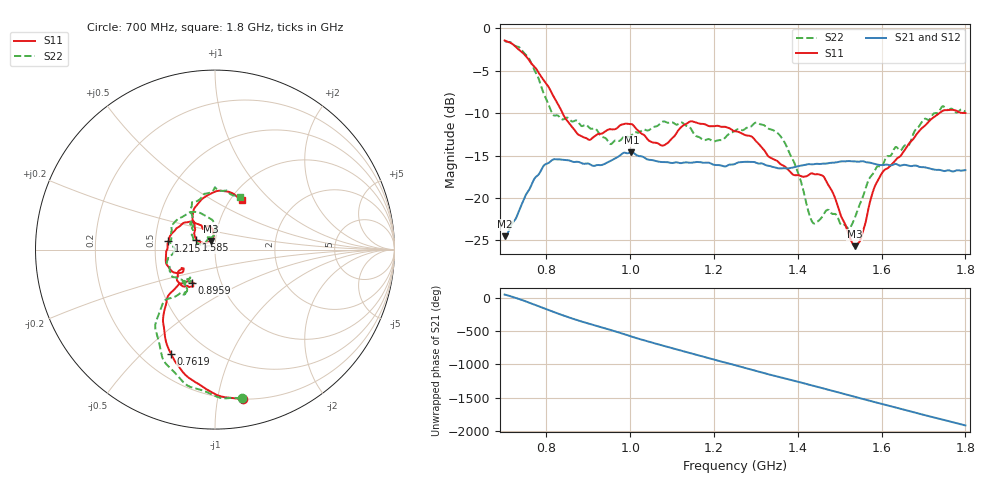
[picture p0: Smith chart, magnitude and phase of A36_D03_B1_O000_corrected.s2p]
! Created with skrf 1.9.0 (http://scikit-rf.org).
# Hz S RI R 50.0
!freq ReS11 ImS11 ReS21 ImS21 ReS12 ImS12 ReS22 ImS22
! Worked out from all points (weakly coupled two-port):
!   1601 points, 700 MHz to 1.8 GHz, reference 50 ohm
!   highest |S21| = -14.63 dB at 1.002 GHz (marker M1); lowest = -24.5 dB at 701.4 MHz (marker M2)
!   lowest |S11| = -25.7 dB at 1.536 GHz (marker M3), VSWR 1.11, Z = 47.7 + j4.54 ohm
!   |S11| at or under -10 dB: 838.3 MHz to 1.738 GHz (899.4 MHz wide, 69.8 % of centre)
!   |S22| runs from -23.6 to -1.5 dB; largest |S21 - S12| = 0.0035
!   S11 on the Smith chart (normalised r, x): 700 MHz: 0.20, -1.19; 761.9 MHz: 0.32, -0.61; 895.9 MHz: 0.73, -0.28; 1.215 GHz: 0.59, +0.06; 1.585 GHz: 0.81, +0.09; 1.8 GHz: 1.13, +0.70
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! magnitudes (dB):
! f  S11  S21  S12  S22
! 700 MHz  -1.4  -24.5  -24.3  -1.5
! 701.4 MHz  -1.5  -24.5  -24.1  -1.5
! 761.9 MHz  -4.0  -18.7  -18.7  -3.9
! 814.8 MHz  -7.9  -15.5  -15.6  -10.2
! 883.6 MHz  -12.7  -15.9  -15.8  -11.5
! 895.9 MHz  -13.0  -15.9  -16.0  -11.4
! 953 MHz  -11.9  -15.6  -15.6  -13.7
! 1.002 GHz  -11.3  -14.6  -14.7  -12.7
! 1.067 GHz  -13.6  -15.7  -15.7  -11.4
! 1.143 GHz  -11.0  -15.9  -15.8  -11.7
! 1.215 GHz  -11.6  -16.2  -16.1  -13.2
! 1.25 GHz  -12.1  -16.0  -15.9  -12.1
! 1.357 GHz  -16.0  -16.5  -16.5  -12.6
! 1.396 GHz  -17.3  -16.3  -16.3  -16.4
! 1.434 GHz  -17.1  -16.0  -16.0  -22.8
! 1.465 GHz  -17.8  -16.0  -15.9  -21.6
! 1.52 GHz  -24.2  -15.7  -15.7  -23.6
! 1.536 GHz  -25.7  -15.7  -15.7  -22.4
! 1.585 GHz  -18.5  -16.0  -16.0  -16.7
! 1.617 GHz  -16.4  -16.1  -16.1  -15.1
! 1.74 GHz  -9.9  -16.7  -16.7  -9.5
! 1.8 GHz  -10.0  -16.7  -16.7  -9.8
